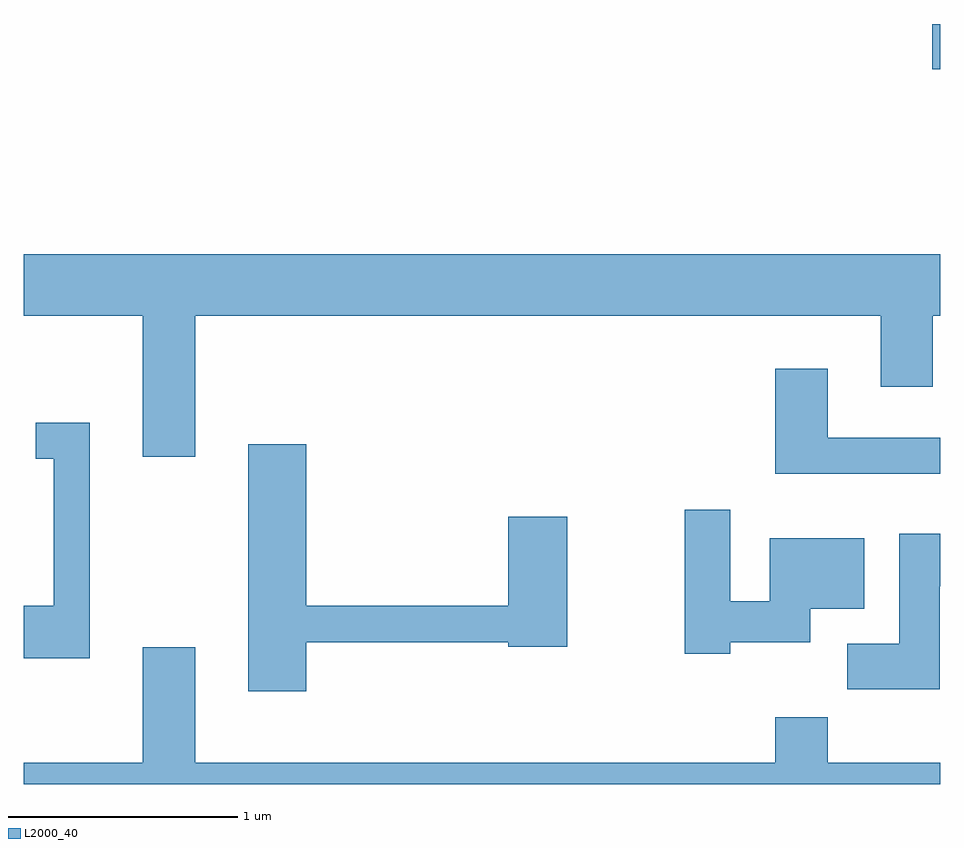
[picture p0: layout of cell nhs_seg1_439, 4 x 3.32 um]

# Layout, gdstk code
import gdstk
lib = gdstk.Library(unit=1e-6, precision=1e-09)
def R(c, l, rs):  # rectangles x0, y0, x1, y1
    for r in rs: c.add(gdstk.rectangle(r[:2], r[2:], *l))
def P(c, l, *ps):  # polygons
    for p in ps: c.add(gdstk.Polygon(p, *l))
L2000_40 = (2000, 40)

nhs_seg1_439 = lib.new_cell('nhs_seg1_439')
R(nhs_seg1_439, L2000_40, [(201.576,942.831,201.611,943.029)])
P(nhs_seg1_439, L2000_40, [(198.359,941.756),(201.351,941.756),(201.351,941.446),(201.579,941.446),(201.579,941.756),(201.611,941.756),(201.611,942.024),(197.611,942.024),(197.611,941.756),(198.131,941.756),(198.131,941.141),(198.359,941.141)],
  [(201.611,941.224),(201.119,941.224),(201.119,941.524),(200.891,941.524),(200.891,941.066),(201.611,941.066)],
  [(197.899,941.289),(197.663,941.289),(197.663,941.131),(197.741,941.131),(197.741,940.489),(197.611,940.489),(197.611,940.261),(197.899,940.261)],
  [(198.844,940.331),(199.726,940.331),(199.726,940.311),(199.984,940.311),(199.984,940.879),(199.726,940.879),(199.726,940.489),(198.844,940.489),(198.844,941.194),(198.591,941.194),(198.591,940.116),(198.844,940.116)],
  [(200.694,940.331),(201.044,940.331),(201.044,940.476),(201.279,940.476),(201.279,940.784),(200.866,940.784),(200.866,940.509),(200.694,940.509),(200.694,940.909),(200.496,940.909),(200.496,940.281),(200.694,940.281)],
  [(201.609,940.576),(201.611,940.576),(201.611,940.804),(201.431,940.804),(201.431,940.324),(201.206,940.324),(201.206,940.126),(201.609,940.126)],
  [(201.611,939.804),(201.119,939.804),(201.119,940.004),(200.891,940.004),(200.891,939.804),(198.359,939.804),(198.359,940.309),(198.131,940.309),(198.131,939.804),(197.611,939.804),(197.611,939.712),(201.611,939.712)])

lib.write_gds('nhs_seg1_439.gds')
